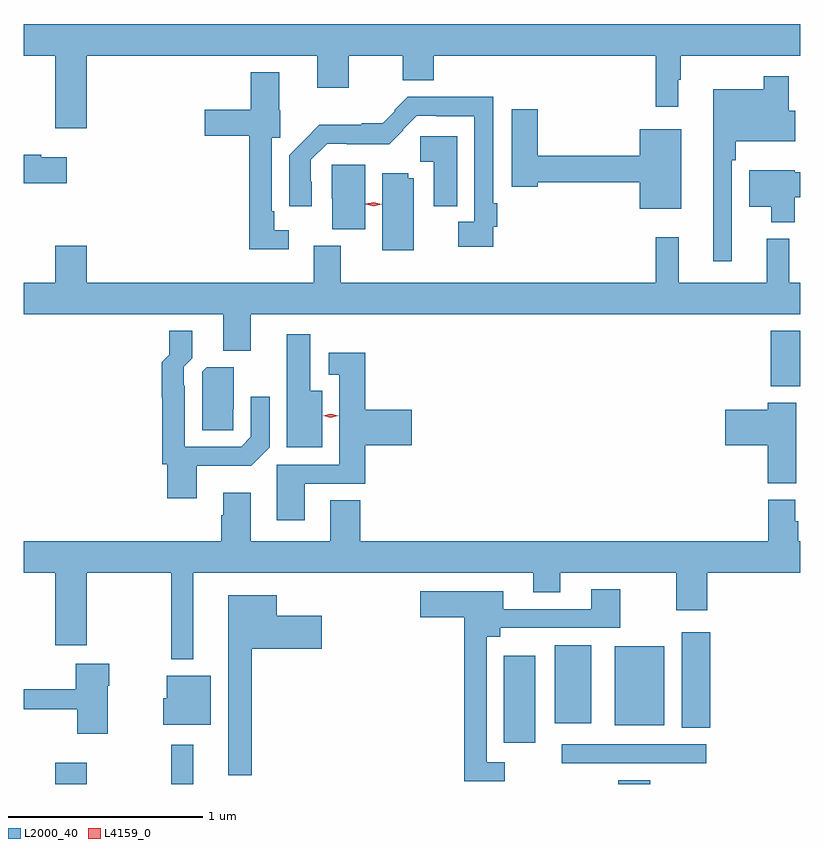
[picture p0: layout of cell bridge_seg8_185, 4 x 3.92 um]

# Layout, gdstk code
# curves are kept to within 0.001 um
import gdstk
lib = gdstk.Library(unit=1e-6, precision=1e-09)
def R(c, l, rs):  # rectangles x0, y0, x1, y1
    for r in rs: c.add(gdstk.rectangle(r[:2], r[2:], *l))
def P(c, l, *ps):  # polygons
    for p in ps: c.add(gdstk.Polygon(p, *l))
L2000_40 = (2000, 40)
L4159_0 = (4159, 0)

bridge_seg8_185 = lib.new_cell('bridge_seg8_185')
R(bridge_seg8_185, L2000_40, [(272.9,1112.748,273.064,1112.857), (273.499,1112.748,273.613,1112.95), (275.801,1112.748,275.966,1112.767), (275.511,1112.856,276.256,1112.952), (275.213,1112.961,275.374,1113.409), (276.128,1113.037,276.275,1113.529), (275.783,1113.05,276.04,1113.457), (275.474,1113.062,275.662,1113.463), (276.587,1114.797,276.739,1115.083)])
P(bridge_seg8_185, L2000_40, [(272.739,1116.5),(272.9,1116.5),(272.9,1116.126),(273.064,1116.126),(273.064,1116.5),(274.25,1116.5),(274.25,1116.336),(274.414,1116.336),(274.414,1116.5),(274.691,1116.5),(274.691,1116.374),(274.852,1116.374),(274.852,1116.5),(275.995,1116.5),(275.995,1116.237),(276.112,1116.237),(276.112,1116.377),(276.124,1116.377),(276.124,1116.5),(276.739,1116.5),(276.739,1116.664),(272.739,1116.664)],
  [(274.105,1115.601),(274.029,1115.601),(274.029,1115.698),(274.017,1115.698),(274.017,1116.077),(274.059,1116.077),(274.059,1116.219),(274.054,1116.219),(274.054,1116.415),(273.908,1116.415),(273.908,1116.223),(273.672,1116.223),(273.672,1116.089),(273.901,1116.089),(273.901,1115.504),(274.105,1115.504)],
  [(276.387,1115.963),(276.407,1115.963),(276.407,1116.059),(276.715,1116.059),(276.715,1116.217),(276.68,1116.217),(276.68,1116.394),(276.552,1116.394),(276.552,1116.328),(276.29,1116.328),(276.29,1115.442),(276.387,1115.442)],
  [(275.157,1115.62),(275.177,1115.62),(275.177,1115.74),(275.157,1115.74),(275.157,1116.289),(274.717,1116.289),(274.647,1116.219),(274.651,1116.215),(274.589,1116.153),(274.481,1116.153),(274.481,1116.145),(274.261,1116.145),(274.106,1115.988),(274.106,1115.724),(274.222,1115.724),(274.222,1115.85),(274.218,1115.85),(274.218,1115.964),(274.302,1116.048),(274.402,1116.048),(274.402,1116.044),(274.621,1116.044),(274.695,1116.117),(274.692,1116.12),(274.764,1116.192),(274.864,1116.192),(274.864,1116.188),(275.061,1116.188),(275.061,1115.644),(274.978,1115.644),(274.978,1115.516),(275.157,1115.516)],
  [(276.127,1116.121),(275.912,1116.121),(275.912,1115.984),(275.387,1115.984),(275.387,1116.226),(275.252,1116.226),(275.252,1115.825),(275.387,1115.825),(275.387,1115.848),(275.912,1115.848),(275.912,1115.711),(276.127,1115.711)],
  [(274.972,1116.086),(274.782,1116.086),(274.782,1115.954),(274.85,1115.954),(274.85,1115.725),(274.972,1115.725)],
  [(272.959,1115.977),(272.829,1115.977),(272.829,1115.99),(272.739,1115.99),(272.739,1115.843),(272.959,1115.843)],
  [(274.498,1115.94),(274.326,1115.94),(274.326,1115.763),(274.328,1115.763),(274.328,1115.606),(274.498,1115.606)],
  [(276.712,1115.772),(276.739,1115.772),(276.739,1115.9),(276.712,1115.9),(276.712,1115.911),(276.476,1115.911),(276.476,1115.723),(276.59,1115.723),(276.59,1115.642),(276.712,1115.642)],
  [(274.747,1115.868),(274.719,1115.868),(274.719,1115.896),(274.586,1115.896),(274.586,1115.498),(274.747,1115.498)],
  [(273.907,1115.168),(276.739,1115.168),(276.739,1115.332),(276.683,1115.332),(276.683,1115.557),(276.566,1115.557),(276.566,1115.332),(276.113,1115.332),(276.113,1115.566),(275.995,1115.566),(275.995,1115.332),(274.372,1115.332),(274.372,1115.521),(274.232,1115.521),(274.232,1115.332),(273.064,1115.332),(273.064,1115.521),(272.9,1115.521),(272.9,1115.332),(272.739,1115.332),(272.739,1115.168),(273.767,1115.168),(273.767,1114.981),(273.907,1114.981)],
  [(273.631,1114.388),(273.911,1114.388),(274.005,1114.482),(274.005,1114.744),(273.909,1114.744),(273.909,1114.536),(273.858,1114.485),(273.567,1114.485),(273.567,1114.799),(273.564,1114.799),(273.564,1114.899),(273.607,1114.942),(273.607,1115.083),(273.487,1115.083),(273.487,1114.959),(273.449,1114.92),(273.449,1114.738),(273.451,1114.738),(273.451,1114.395),(273.479,1114.395),(273.479,1114.221),(273.631,1114.221)],
  [(274.276,1114.774),(274.216,1114.774),(274.216,1115.065),(274.094,1115.065),(274.094,1114.484),(274.276,1114.484)],
  [(274.186,1114.296),(274.499,1114.296),(274.499,1114.493),(274.738,1114.493),(274.738,1114.676),(274.499,1114.676),(274.499,1114.969),(274.311,1114.969),(274.311,1114.856),(274.364,1114.856),(274.364,1114.392),(274.043,1114.392),(274.043,1114.107),(274.186,1114.107)],
  [(273.819,1114.681),(273.82,1114.681),(273.82,1114.896),(273.681,1114.896),(273.657,1114.872),(273.657,1114.57),(273.819,1114.57)],
  [(276.718,1114.712),(276.572,1114.712),(276.572,1114.676),(276.354,1114.676),(276.354,1114.493),(276.572,1114.493),(276.572,1114.297),(276.718,1114.297)],
  [(273.613,1113.836),(275.363,1113.836),(275.363,1113.737),(275.503,1113.737),(275.503,1113.836),(276.1,1113.836),(276.1,1113.642),(276.26,1113.642),(276.26,1113.836),(276.739,1113.836),(276.739,1114),(276.728,1114),(276.728,1114.101),(276.715,1114.101),(276.715,1114.212),(276.575,1114.212),(276.575,1114),(274.472,1114),(274.472,1114.211),(274.319,1114.211),(274.319,1114),(273.907,1114),(273.907,1114.249),(273.767,1114.249),(273.767,1114.133),(273.755,1114.133),(273.755,1114),(272.739,1114),(272.739,1113.836),(272.9,1113.836),(272.9,1113.462),(273.064,1113.462),(273.064,1113.836),(273.499,1113.836),(273.499,1113.392),(273.613,1113.392)],
  [(275.218,1112.859),(275.124,1112.859),(275.124,1113.506),(275.194,1113.506),(275.194,1113.552),(275.811,1113.552),(275.811,1113.751),(275.663,1113.751),(275.663,1113.648),(275.209,1113.648),(275.209,1113.742),(274.782,1113.742),(274.782,1113.608),(275.008,1113.608),(275.008,1112.763),(275.218,1112.763)],
  [(273.913,1113.446),(274.273,1113.446),(274.273,1113.616),(274.042,1113.616),(274.042,1113.721),(273.791,1113.721),(273.791,1112.793),(273.913,1112.793)],
  [(273.172,1113.254),(273.18,1113.254),(273.18,1113.367),(273.007,1113.367),(273.007,1113.237),(272.739,1113.237),(272.739,1113.133),(273.014,1113.133),(273.014,1113.006),(273.172,1113.006)],
  [(273.703,1113.307),(273.476,1113.307),(273.476,1113.189),(273.458,1113.189),(273.458,1113.053),(273.703,1113.053)])
P(bridge_seg8_185, L4159_0, [(274.542,1115.726),(274.501,1115.736),(274.501,1115.736),(274.501,1115.737),(274.542,1115.746),(274.583,1115.735),(274.583,1115.735),(274.583,1115.735)],
  [(274.32,1114.635),(274.281,1114.645),(274.28,1114.645),(274.281,1114.645),(274.32,1114.655),(274.358,1114.645),(274.359,1114.645),(274.358,1114.645)])

lib.write_gds('bridge_seg8_185.gds')
